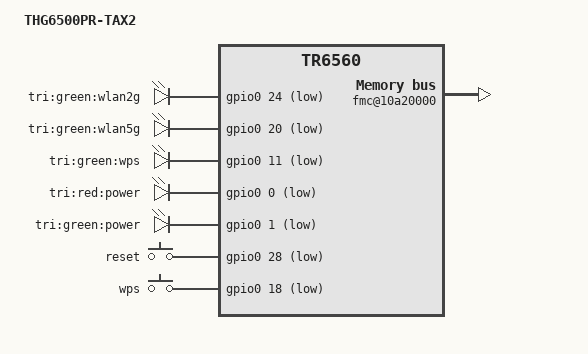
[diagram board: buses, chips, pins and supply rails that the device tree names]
/*
 * dts file for TRIDUCTOR Ltd. tr6560p  Board
 *
 * Copyright (C) 2025-04-17, TRIDUCTOR Ltd.
 *
 */

#include <dt-bindings/gpio/gpio.h>
#include <dt-bindings/input/input.h>
#include <dt-bindings/phy/phy.h>
#include <dt-bindings/interrupt-controller/irq.h>
#include <dt-bindings/interrupt-controller/arm-gic.h>

#include "triductor-tr6560.dtsi" 

/ {
	model = "THG6500PR-TAX2";
	compatible = "THG6500PR-TAX2", "triductor,tr6560";

	leds {
		compatible = "gpio-leds";
		wlan_sharegpio = <1>;

		wlan2g {
			label = "tri:green:wlan2g";
			gpios = <&gpio0 24 GPIO_ACTIVE_LOW>;
			default-state = "off";
		};

		wlan5g {
			label = "tri:green:wlan5g";
			gpios = <&gpio0 20 GPIO_ACTIVE_LOW>;
			default-state = "off";
		};

		wps {
			label = "tri:green:wps";
			gpios = <&gpio0 11 GPIO_ACTIVE_LOW>;
			default-state = "off";
		};

		power-red {
			label = "tri:red:power";
			gpios = <&gpio0 0 GPIO_ACTIVE_LOW>;
			default-state = "keep";
		};

		power-green {
			label = "tri:green:power";
			gpios = <&gpio0 1 GPIO_ACTIVE_LOW>;
			default-state = "off";
		};
	};

	keys {
		compatible = "gpio-keys";
		
		reset {
			label = "reset";
			linux,code = <KEY_RESTART>;
			gpios = <&gpio0 28 GPIO_ACTIVE_LOW>;
		};

		wps {
			label = "wps";
			linux,code = <KEY_WPS_BUTTON>;
			gpios = <&gpio0 18 GPIO_ACTIVE_LOW>;
		};
	};

	// 此节点标识单板gpio特性
	board{
		compatible = "tri,board";
		usb_power = <27>; // usb 电源控制vbus管脚
		current_limit = <28>; //gpio限流保护引脚，目前无芯片使用
		
		tr5220;
		pcie2_0;
		pcie_rstn    = <16>;  //初始配置拉高；低电平复位
		vol_en       = <9>;  //高电平有效，高电平给wifi上电
		wl_en        = <10>; //高电平有效，打开高电平wifi
		pmu_pwron    = <11>; //wifi 唤醒主控功能,未使用，无需管理

		//rgmii;               // rgmii模块属性，涉及GPIO复用配置，不使用请屏蔽
        	//extphy;              // 带rgmii时的外置phy属性，涉及GPIO复用配置，不使用请屏蔽
        	//tx_delay     = <4>;    //rgmill tx_delay 0.2ns步进
        	//rx_delay     = <0>;    //rgmill rx_delay 0.2ns步进
        	//extphy_rstn  = <25>;  //外置phy reset 引脚

        	i2c;                  // TR6560 i2c 只有一组GPIO24，GPIO25
        	i2c_enable   = <0>;   // 等于1，使能iic 模块,等于0 不使能i2c 模块
        	addr_mode    = <0x1>; //0.7bit地址长度  1:10bit地址长度
        	baud_rate    = <0x1>; // 0:100k 1:400k 2:3.4M

		jtag_sel;            //wifi芯片操作gpio管脚和jtag复用，jtag优先级更高
	};
	
	fmc@10a20000 {
		compatible = "tri,fmc";
		bus_id = "fmc";
		reg = <0x10a20000 0x1000>,
			<0x1c000000 0x100000>;
		spi_cs = <0x1>;  

		partitions {
			compatible = "fixed-partitions";
			#address-cells = <1>;
			#size-cells = <1>;

			uboot{
				label = "uboot";
				reg = <0x0 0x80000>;
				read-only;
			};

			kernel{
				label = "kernel";
				reg = <0x80000 0x280000>;
			};

			rootfs{
				label = "rootfs";
				reg = <0x300000 0xAE0000>;
			};

			firmware{
				label = "firmware";
				reg = <0x80000 0xD60000>;
			};

			rootfs_data{
				label = "rootfs_data";
				reg = <0xDE0000 0x1F0000>;
			};

			equip{
				label = "equip";
				reg = <0xFD0000 0x10000>;
			};

			wlanrf{
				label = "wlanrf";
				reg = <0xFE0000 0x10000>;
			};

			upgflag{
				label = "upgflag";
				reg = <0xFF0000 0x10000>;
			};
		};
	};
};

&halport0 {
	ports {
		#address-cells = <1>;
		#size-cells = <0>;
		port@0 {
			reg = <0>;
			label = "wan";
			phy-mode = "internal";
			phy-handle = <&phy1>;
		};
		port@1 {
			reg = <1>;
			label = "lan1";
			phy-mode = "internal";
			phy-handle = <&phy2>;
		};
		port@2 {
			reg = <2>;
			label = "lan2";
			phy-mode = "internal";
			phy-handle = <&phy3>;
		};
		port@3 {
			reg = <3>;
			label = "lan3";
			phy-mode = "internal";
			phy-handle = <&phy4>;
		};
		port@4 {
			reg = <4>;
			label = "lan4";
			phy-mode = "internal";
			phy-handle = <&phy5>;
		};
	};

};

